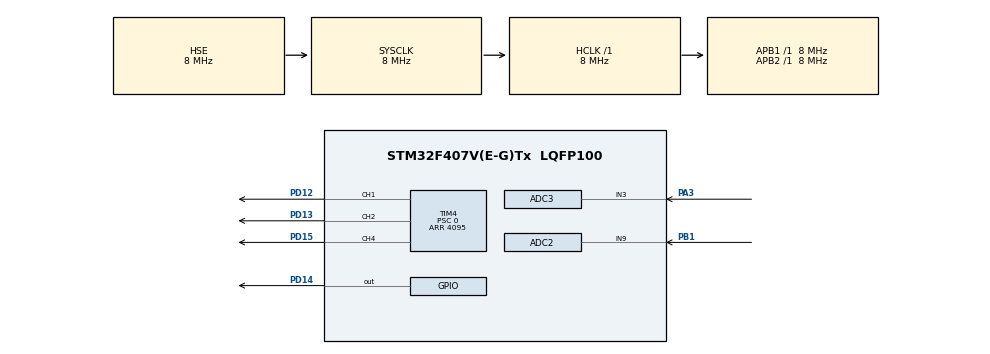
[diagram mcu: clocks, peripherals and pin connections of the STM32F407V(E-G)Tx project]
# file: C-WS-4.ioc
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ADC1.Channel-2\#ChannelRegularConversion=ADC_CHANNEL_TEMPSENSOR
ADC1.ClockPrescaler=ADC_CLOCK_SYNC_PCLK_DIV8
ADC1.ContinuousConvMode=ENABLE
ADC1.NbrOfConversionFlag=1
ADC1.Rank-2\#ChannelRegularConversion=1
ADC1.SamplingTime-2\#ChannelRegularConversion=ADC_SAMPLETIME_480CYCLES
ADC1.master=1
ADC2.Channel-0\#ChannelRegularConversion=ADC_CHANNEL_9
ADC2.ClockPrescaler=ADC_CLOCK_SYNC_PCLK_DIV8
ADC2.NbrOfConversionFlag=1
ADC2.Rank-0\#ChannelRegularConversion=1
ADC2.SamplingTime-0\#ChannelRegularConversion=ADC_SAMPLETIME_480CYCLES
ADC3.Channel-0\#ChannelRegularConversion=ADC_CHANNEL_3
ADC3.ClockPrescaler=ADC_CLOCK_SYNC_PCLK_DIV8
ADC3.NbrOfConversionFlag=1
ADC3.Rank-0\#ChannelRegularConversion=1
ADC3.SamplingTime-0\#ChannelRegularConversion=ADC_SAMPLETIME_480CYCLES
Mcu.Family=STM32F4
Mcu.Name=STM32F407V(E-G)Tx
Mcu.Package=LQFP100
NVIC.PriorityGroup=NVIC_PRIORITYGROUP_4
NVIC.TIM3_IRQn=true\:0\:0\:false\:false\:true\:true\:true
PA3.Signal=ADCx_IN3
PB1.Signal=ADCx_IN9
PD12.Signal=S_TIM4_CH1
PD13.Signal=S_TIM4_CH2
PD14.Signal=GPIO_Output
PD15.Signal=S_TIM4_CH4
PH0-OSC_IN.Mode=HSE-External-Oscillator
PH0-OSC_IN.Signal=RCC_OSC_IN
PH1-OSC_OUT.Mode=HSE-External-Oscillator
PH1-OSC_OUT.Signal=RCC_OSC_OUT
ProjectManager.HeapSize=0x200
ProjectManager.StackSize=0x400
ProjectManager.TargetToolchain=STM32CubeIDE
RCC.48MHZClocksFreq_Value=24000000
RCC.AHBFreq_Value=8000000
RCC.APB1Freq_Value=8000000
RCC.APB1TimFreq_Value=8000000
RCC.APB2Freq_Value=8000000
RCC.APB2TimFreq_Value=8000000
RCC.CortexFreq_Value=8000000
RCC.HCLKFreq_Value=8000000
RCC.HSE_VALUE=8000000
RCC.HSI_VALUE=16000000
RCC.LSE_VALUE=32768
RCC.PLLSourceVirtual=RCC_PLLSOURCE_HSE
RCC.SYSCLKFreq_VALUE=8000000
RCC.SYSCLKSource=RCC_SYSCLKSOURCE_HSE
RCC.VCOOutputFreq_Value=96000000
SH.ADCx_IN3.0=ADC3_IN3,IN3
SH.ADCx_IN9.0=ADC2_IN9,IN9
SH.S_TIM4_CH1.0=TIM4_CH1,PWM Generation1 CH1
SH.S_TIM4_CH2.0=TIM4_CH2,PWM Generation2 CH2
SH.S_TIM4_CH4.0=TIM4_CH4,PWM Generation4 CH4
TIM3.AutoReloadPreload=TIM_AUTORELOAD_PRELOAD_ENABLE
TIM3.Period=500
TIM3.Prescaler=8000
TIM4.AutoReloadPreload=TIM_AUTORELOAD_PRELOAD_ENABLE
TIM4.Channel-PWM\ Generation1\ CH1=TIM_CHANNEL_1
TIM4.Channel-PWM\ Generation2\ CH2=TIM_CHANNEL_2
TIM4.Channel-PWM\ Generation4\ CH4=TIM_CHANNEL_4
TIM4.Period=4095
TIM4.Prescaler=0
VP_ADC1_TempSens_Input.Mode=IN-TempSens
VP_TIM3_VS_ClockSourceINT.Mode=Internal
VP_TIM4_VS_ClockSourceINT.Mode=Internal
board=custom

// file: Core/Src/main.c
/* USER CODE BEGIN Header */
/* USER CODE END Header */
#include "main.h"

/* USER CODE BEGIN PTD */
typedef enum {
	LEVEL_ZERO,
	LEVEL_ONE,
	LEVEL_TWO,
	LEVEL_THREE
} EMERGENCY_LEVEL;
/* USER CODE END PTD */

/* USER CODE BEGIN PD */
#define APROX_DEGREE 16
/* USER CODE END PD */

ADC_HandleTypeDef hadc1;
ADC_HandleTypeDef hadc2;
ADC_HandleTypeDef hadc3;

TIM_HandleTypeDef htim3;
TIM_HandleTypeDef htim4;

/* USER CODE BEGIN PV */
const uint16_t potentiometer_emergency = 3000;
const uint16_t temperature_internal_emergency = 1000;
const uint16_t temperature_external_emergency = 680;
/* USER CODE END PV */

void SystemClock_Config(void);
static void MX_GPIO_Init(void);
static void MX_TIM4_Init(void);
static void MX_ADC1_Init(void);
static void MX_ADC2_Init(void);
static void MX_TIM3_Init(void);
static void MX_ADC3_Init(void);

int main(void)
{

  /* MCU Configuration--------------------------------------------------------*/

  /* Reset of all peripherals, Initializes the Flash interface and the Systick. */
  HAL_Init();

  /* Configure the system clock */
  SystemClock_Config();

  /* Initialize all configured peripherals */
  MX_GPIO_Init();
  MX_TIM4_Init();
  MX_ADC1_Init();
  MX_ADC2_Init();
  MX_TIM3_Init();
  MX_ADC3_Init();
  /* USER CODE BEGIN 2 */
  HAL_ADC_Start(&hadc1);
  HAL_ADC_Start(&hadc2);
  HAL_ADC_Start(&hadc3);

  HAL_TIM_PWM_Start(&htim4, TIM_CHANNEL_1);
  HAL_TIM_PWM_Start(&htim4, TIM_CHANNEL_2);
  HAL_TIM_PWM_Start(&htim4, TIM_CHANNEL_4);
  /* USER CODE END 2 */

  /* Infinite loop */
  /* USER CODE BEGIN WHILE */
  EMERGENCY_LEVEL emergency;

  uint32_t pmValues[APROX_DEGREE] = { 0 };
  uint32_t tmExternalValues[APROX_DEGREE] = { 0 };
  uint32_t tmInternalValues[APROX_DEGREE] = { 0 };

  uint32_t sumPm = 0;
  uint32_t sumTmExternal = 0;
  uint32_t sumTmInternal = 0;

  uint32_t * currentPm = pmValues;
  uint32_t * currentTmExternal = tmExternalValues;
  uint32_t * currentTmInternal = tmInternalValues;
  uint32_t * next = 0;

  while(1) {
	  emergency = LEVEL_ZERO;

	  if(HAL_ADC_PollForConversion(&hadc1, 1) == HAL_OK) {
		  next = (currentTmInternal == tmInternalValues + APROX_DEGREE - 1)?tmInternalValues:currentTmInternal + 1;
		  *currentTmInternal = HAL_ADC_GetValue(&hadc1);
		  sumTmInternal += *currentTmInternal;
		  sumTmInternal -= *next;
		  if(*currentTmInternal > temperature_internal_emergency) {
			  ++emergency;
		  }
		  currentTmInternal = next;
	  }
	  if(HAL_ADC_PollForConversion(&hadc2, 1) == HAL_OK) {
		  next = (currentTmExternal == tmExternalValues + APROX_DEGREE - 1)?tmExternalValues:currentTmExternal + 1;
		  *currentTmExternal = HAL_ADC_GetValue(&hadc2);
		  sumTmExternal += *currentTmExternal;
		  sumTmExternal -= *next;
		  if(*currentTmExternal > temperature_external_emergency) {
			  ++emergency;
		  }
		  currentTmExternal = next;
	  }
	  if(HAL_ADC_PollForConversion(&hadc3, 1) == HAL_OK) {
		  next = (currentPm == pmValues + APROX_DEGREE - 1)?pmValues:currentPm + 1;
		  *currentPm = HAL_ADC_GetValue(&hadc3);
		  sumPm += *currentPm;
		  sumPm -= *next;
		  if(*currentPm > potentiometer_emergency) {
			  ++emergency;
		  }
		  currentPm = next;
	  }

	  htim4.Instance->CCR1 = sumPm / APROX_DEGREE;
	  htim4.Instance->CCR2 = sumTmExternal / APROX_DEGREE;
	  htim4.Instance->CCR4 = sumTmInternal / APROX_DEGREE;

	  switch(emergency) {
	  case LEVEL_ONE:
		  HAL_TIM_Base_Start_IT(&htim3);
		  htim3.Instance->ARR = 500;
		  break;
	  case LEVEL_TWO:
		  HAL_TIM_Base_Start_IT(&htim3);
		  htim3.Instance->ARR = 200;
		  break;
	  case LEVEL_THREE:
		  HAL_TIM_Base_Start_IT(&htim3);
		  htim3.Instance->ARR = 100;
		  break;
	  case LEVEL_ZERO:
	  default:
		  HAL_TIM_Base_Stop_IT(&htim3);
		  HAL_GPIO_WritePin(GPIOD, GPIO_PIN_14, GPIO_PIN_RESET);
		  break;
	  }
    /* USER CODE END WHILE */

  }
}

void SystemClock_Config(void)
{
  RCC_OscInitTypeDef RCC_OscInitStruct = {0};
  RCC_ClkInitTypeDef RCC_ClkInitStruct = {0};

  /** Configure the main internal regulator output voltage
  */
  __HAL_RCC_PWR_CLK_ENABLE();
  __HAL_PWR_VOLTAGESCALING_CONFIG(PWR_REGULATOR_VOLTAGE_SCALE1);
  /** Initializes the RCC Oscillators according to the specified parameters
  * in the RCC_OscInitTypeDef structure.
  */
  RCC_OscInitStruct.OscillatorType = RCC_OSCILLATORTYPE_HSE;
  RCC_OscInitStruct.HSEState = RCC_HSE_ON;
  RCC_OscInitStruct.PLL.PLLState = RCC_PLL_NONE;
  if (HAL_RCC_OscConfig(&RCC_OscInitStruct) != HAL_OK)
  {
    Error_Handler();
  }
  /** Initializes the CPU, AHB and APB buses clocks
  */
  RCC_ClkInitStruct.ClockType = RCC_CLOCKTYPE_HCLK|RCC_CLOCKTYPE_SYSCLK
                              |RCC_CLOCKTYPE_PCLK1|RCC_CLOCKTYPE_PCLK2;
  RCC_ClkInitStruct.SYSCLKSource = RCC_SYSCLKSOURCE_HSE;
  RCC_ClkInitStruct.AHBCLKDivider = RCC_SYSCLK_DIV1;
  RCC_ClkInitStruct.APB1CLKDivider = RCC_HCLK_DIV1;
  RCC_ClkInitStruct.APB2CLKDivider = RCC_HCLK_DIV1;

  if (HAL_RCC_ClockConfig(&RCC_ClkInitStruct, FLASH_LATENCY_0) != HAL_OK)
  {
    Error_Handler();
  }
}

static void MX_ADC1_Init(void)
{

  ADC_ChannelConfTypeDef sConfig = {0};

  /** Configure the global features of the ADC (Clock, Resolution, Data Alignment and number of conversion)
  */
  hadc1.Instance = ADC1;
  hadc1.Init.ClockPrescaler = ADC_CLOCK_SYNC_PCLK_DIV8;
  hadc1.Init.Resolution = ADC_RESOLUTION_12B;
  hadc1.Init.ScanConvMode = DISABLE;
  hadc1.Init.ContinuousConvMode = ENABLE;
  hadc1.Init.DiscontinuousConvMode = DISABLE;
  hadc1.Init.ExternalTrigConvEdge = ADC_EXTERNALTRIGCONVEDGE_NONE;
  hadc1.Init.ExternalTrigConv = ADC_SOFTWARE_START;
  hadc1.Init.DataAlign = ADC_DATAALIGN_RIGHT;
  hadc1.Init.NbrOfConversion = 1;
  hadc1.Init.DMAContinuousRequests = DISABLE;
  hadc1.Init.EOCSelection = ADC_EOC_SINGLE_CONV;
  if (HAL_ADC_Init(&hadc1) != HAL_OK)
  {
    Error_Handler();
  }
  /** Configure for the selected ADC regular channel its corresponding rank in the sequencer and its sample time.
  */
  sConfig.Channel = ADC_CHANNEL_TEMPSENSOR;
  sConfig.Rank = 1;
  sConfig.SamplingTime = ADC_SAMPLETIME_480CYCLES;
  if (HAL_ADC_ConfigChannel(&hadc1, &sConfig) != HAL_OK)
  {
    Error_Handler();
  }

}

static void MX_ADC2_Init(void)
{

  ADC_ChannelConfTypeDef sConfig = {0};

  /** Configure the global features of the ADC (Clock, Resolution, Data Alignment and number of conversion)
  */
  hadc2.Instance = ADC2;
  hadc2.Init.ClockPrescaler = ADC_CLOCK_SYNC_PCLK_DIV8;
  hadc2.Init.Resolution = ADC_RESOLUTION_12B;
  hadc2.Init.ScanConvMode = DISABLE;
  hadc2.Init.ContinuousConvMode = ENABLE;
  hadc2.Init.DiscontinuousConvMode = DISABLE;
  hadc2.Init.ExternalTrigConvEdge = ADC_EXTERNALTRIGCONVEDGE_NONE;
  hadc2.Init.ExternalTrigConv = ADC_SOFTWARE_START;
  hadc2.Init.DataAlign = ADC_DATAALIGN_RIGHT;
  hadc2.Init.NbrOfConversion = 1;
  hadc2.Init.DMAContinuousRequests = DISABLE;
  hadc2.Init.EOCSelection = ADC_EOC_SINGLE_CONV;
  if (HAL_ADC_Init(&hadc2) != HAL_OK)
  {
    Error_Handler();
  }
  /** Configure for the selected ADC regular channel its corresponding rank in the sequencer and its sample time.
  */
  sConfig.Channel = ADC_CHANNEL_9;
  sConfig.Rank = 1;
  sConfig.SamplingTime = ADC_SAMPLETIME_480CYCLES;
  if (HAL_ADC_ConfigChannel(&hadc2, &sConfig) != HAL_OK)
  {
    Error_Handler();
  }

}

static void MX_ADC3_Init(void)
{

  ADC_ChannelConfTypeDef sConfig = {0};

  /** Configure the global features of the ADC (Clock, Resolution, Data Alignment and number of conversion)
  */
  hadc3.Instance = ADC3;
  hadc3.Init.ClockPrescaler = ADC_CLOCK_SYNC_PCLK_DIV8;
  hadc3.Init.Resolution = ADC_RESOLUTION_12B;
  hadc3.Init.ScanConvMode = DISABLE;
  hadc3.Init.ContinuousConvMode = ENABLE;
  hadc3.Init.DiscontinuousConvMode = DISABLE;
  hadc3.Init.ExternalTrigConvEdge = ADC_EXTERNALTRIGCONVEDGE_NONE;
  hadc3.Init.ExternalTrigConv = ADC_SOFTWARE_START;
  hadc3.Init.DataAlign = ADC_DATAALIGN_RIGHT;
  hadc3.Init.NbrOfConversion = 1;
  hadc3.Init.DMAContinuousRequests = DISABLE;
  hadc3.Init.EOCSelection = ADC_EOC_SINGLE_CONV;
  if (HAL_ADC_Init(&hadc3) != HAL_OK)
  {
    Error_Handler();
  }
  /** Configure for the selected ADC regular channel its corresponding rank in the sequencer and its sample time.
  */
  sConfig.Channel = ADC_CHANNEL_3;
  sConfig.Rank = 1;
  sConfig.SamplingTime = ADC_SAMPLETIME_480CYCLES;
  if (HAL_ADC_ConfigChannel(&hadc3, &sConfig) != HAL_OK)
  {
    Error_Handler();
  }

}

static void MX_TIM3_Init(void)
{

  TIM_ClockConfigTypeDef sClockSourceConfig = {0};
  TIM_MasterConfigTypeDef sMasterConfig = {0};

  htim3.Instance = TIM3;
  htim3.Init.Prescaler = 8000;
  htim3.Init.CounterMode = TIM_COUNTERMODE_UP;
  htim3.Init.Period = 500;
  htim3.Init.ClockDivision = TIM_CLOCKDIVISION_DIV1;
  htim3.Init.AutoReloadPreload = TIM_AUTORELOAD_PRELOAD_ENABLE;
  if (HAL_TIM_Base_Init(&htim3) != HAL_OK)
  {
    Error_Handler();
  }
  sClockSourceConfig.ClockSource = TIM_CLOCKSOURCE_INTERNAL;
  if (HAL_TIM_ConfigClockSource(&htim3, &sClockSourceConfig) != HAL_OK)
  {
    Error_Handler();
  }
  sMasterConfig.MasterOutputTrigger = TIM_TRGO_RESET;
  sMasterConfig.MasterSlaveMode = TIM_MASTERSLAVEMODE_DISABLE;
  if (HAL_TIMEx_MasterConfigSynchronization(&htim3, &sMasterConfig) != HAL_OK)
  {
    Error_Handler();
  }

}

static void MX_TIM4_Init(void)
{

  TIM_ClockConfigTypeDef sClockSourceConfig = {0};
  TIM_MasterConfigTypeDef sMasterConfig = {0};
  TIM_OC_InitTypeDef sConfigOC = {0};

  htim4.Instance = TIM4;
  htim4.Init.Prescaler = 0;
  htim4.Init.CounterMode = TIM_COUNTERMODE_UP;
  htim4.Init.Period = 4095;
  htim4.Init.ClockDivision = TIM_CLOCKDIVISION_DIV1;
  htim4.Init.AutoReloadPreload = TIM_AUTORELOAD_PRELOAD_ENABLE;
  if (HAL_TIM_Base_Init(&htim4) != HAL_OK)
  {
    Error_Handler();
  }
  sClockSourceConfig.ClockSource = TIM_CLOCKSOURCE_INTERNAL;
  if (HAL_TIM_ConfigClockSource(&htim4, &sClockSourceConfig) != HAL_OK)
  {
    Error_Handler();
  }
  if (HAL_TIM_PWM_Init(&htim4) != HAL_OK)
  {
    Error_Handler();
  }
  sMasterConfig.MasterOutputTrigger = TIM_TRGO_RESET;
  sMasterConfig.MasterSlaveMode = TIM_MASTERSLAVEMODE_DISABLE;
  if (HAL_TIMEx_MasterConfigSynchronization(&htim4, &sMasterConfig) != HAL_OK)
  {
    Error_Handler();
  }
  sConfigOC.OCMode = TIM_OCMODE_PWM1;
  sConfigOC.Pulse = 0;
  sConfigOC.OCPolarity = TIM_OCPOLARITY_HIGH;
  sConfigOC.OCFastMode = TIM_OCFAST_DISABLE;
  if (HAL_TIM_PWM_ConfigChannel(&htim4, &sConfigOC, TIM_CHANNEL_1) != HAL_OK)
  {
    Error_Handler();
  }
  if (HAL_TIM_PWM_ConfigChannel(&htim4, &sConfigOC, TIM_CHANNEL_2) != HAL_OK)
  {
    Error_Handler();
  }
  if (HAL_TIM_PWM_ConfigChannel(&htim4, &sConfigOC, TIM_CHANNEL_4) != HAL_OK)
  {
    Error_Handler();
  }
  HAL_TIM_MspPostInit(&htim4);

}

static void MX_GPIO_Init(void)
{
  GPIO_InitTypeDef GPIO_InitStruct = {0};

  /* GPIO Ports Clock Enable */
  __HAL_RCC_GPIOH_CLK_ENABLE();
  __HAL_RCC_GPIOA_CLK_ENABLE();
  __HAL_RCC_GPIOB_CLK_ENABLE();
  __HAL_RCC_GPIOD_CLK_ENABLE();

  /*Configure GPIO pin Output Level */
  HAL_GPIO_WritePin(GPIOD, GPIO_PIN_14, GPIO_PIN_RESET);

  /*Configure GPIO pin : PD14 */
  GPIO_InitStruct.Pin = GPIO_PIN_14;
  GPIO_InitStruct.Mode = GPIO_MODE_OUTPUT_PP;
  GPIO_InitStruct.Pull = GPIO_NOPULL;
  GPIO_InitStruct.Speed = GPIO_SPEED_FREQ_LOW;
  HAL_GPIO_Init(GPIOD, &GPIO_InitStruct);

}

void Error_Handler(void)
{
}

/************************ (C) COPYRIGHT STMicroelectronics *****END OF FILE****/
